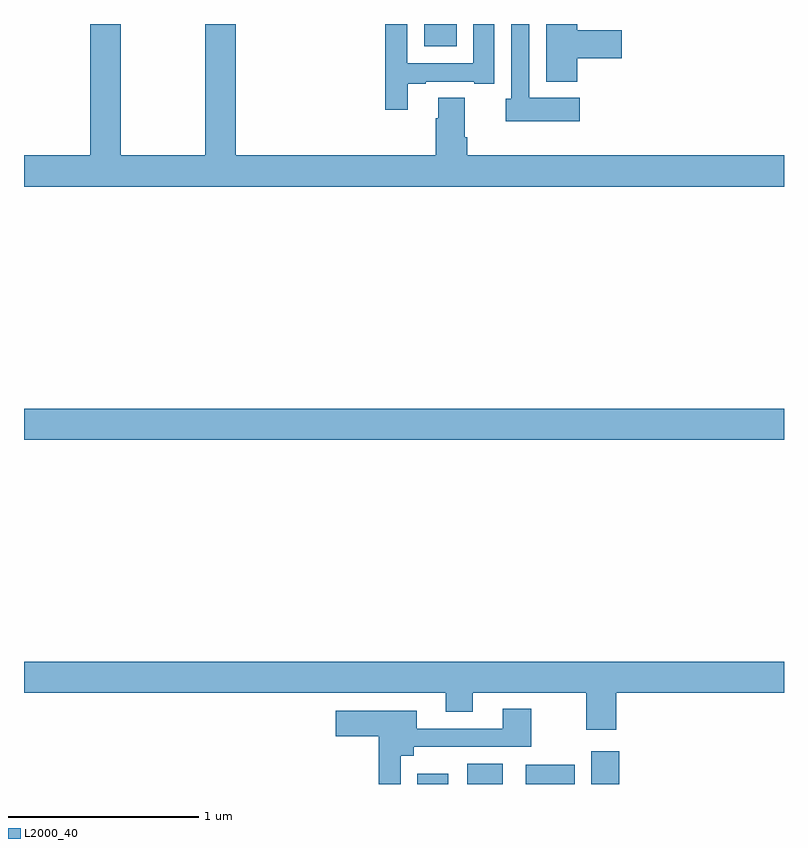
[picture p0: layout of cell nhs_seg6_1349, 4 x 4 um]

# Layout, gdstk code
import gdstk
lib = gdstk.Library(unit=1e-6, precision=1e-09)
def R(c, l, rs):  # rectangles x0, y0, x1, y1
    for r in rs: c.add(gdstk.rectangle(r[:2], r[2:], *l))
def P(c, l, *ps):  # polygons
    for p in ps: c.add(gdstk.Polygon(p, *l))
L2000_40 = (2000, 40)

nhs_seg6_1349 = lib.new_cell('nhs_seg6_1349')
R(nhs_seg6_1349, L2000_40, [(195.071,969.5,195.232,969.553), (195.332,969.5,195.52,969.607), (195.641,969.5,195.898,969.601), (195.986,969.5,196.133,969.673), (193,971.312,197,971.476), (195.107,973.382,195.277,973.5)])
P(nhs_seg6_1349, L2000_40, [(195.925,973.111),(195.66,973.111),(195.66,973.5),(195.564,973.5),(195.564,973.107),(195.536,973.107),(195.536,972.989),(195.925,972.989)],
  [(197,972.808),(195.332,972.808),(195.332,972.904),(195.319,972.904),(195.319,973.112),(195.179,973.112),(195.179,973.004),(195.167,973.004),(195.167,972.808),(194.114,972.808),(194.114,973.5),(193.954,973.5),(193.954,972.808),(193.509,972.808),(193.509,973.5),(193.349,973.5),(193.349,972.808),(193,972.808),(193,972.644),(197,972.644)],
  [(195.019,973.185),(195.115,973.185),(195.115,973.197),(195.371,973.197),(195.371,973.185),(195.475,973.185),(195.475,973.5),(195.365,973.5),(195.365,973.293),(195.018,973.293),(195.018,973.5),(194.902,973.5),(194.902,973.05),(195.019,973.05)],
  [(195.911,973.319),(196.147,973.319),(196.147,973.466),(195.911,973.466),(195.911,973.5),(195.749,973.5),(195.749,973.196),(195.911,973.196)],
  [(196.118,969.98),(197,969.98),(197,970.144),(193,970.144),(193,969.98),(195.221,969.98),(195.221,969.881),(195.361,969.881),(195.361,969.98),(195.958,969.98),(195.958,969.786),(196.118,969.786)],
  [(194.982,969.65),(195.052,969.65),(195.052,969.696),(195.669,969.696),(195.669,969.895),(195.521,969.895),(195.521,969.792),(195.067,969.792),(195.067,969.886),(194.64,969.886),(194.64,969.752),(194.866,969.752),(194.866,969.5),(194.982,969.5)])

lib.write_gds('nhs_seg6_1349.gds')
